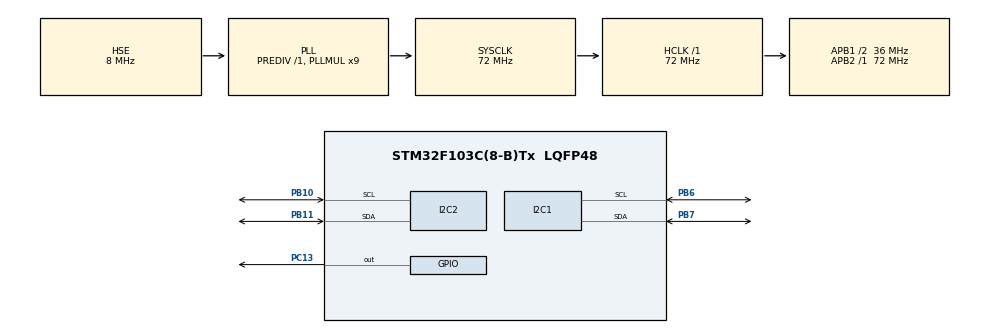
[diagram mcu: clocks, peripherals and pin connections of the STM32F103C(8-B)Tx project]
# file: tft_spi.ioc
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I2C1.I2C_Mode=I2C_Standard
Mcu.Family=STM32F1
Mcu.Name=STM32F103C(8-B)Tx
Mcu.Package=LQFP48
NVIC.PriorityGroup=NVIC_PRIORITYGROUP_4
NVIC.TIM4_IRQn=true\:15\:0\:false\:false\:true\:false\:true\:true
NVIC.TimeBase=TIM4_IRQn
NVIC.TimeBaseIP=TIM4
PA13.Mode=Serial_Wire
PA13.Signal=SYS_JTMS-SWDIO
PA14.Mode=Serial_Wire
PA14.Signal=SYS_JTCK-SWCLK
PB10.Mode=I2C
PB10.Signal=I2C2_SCL
PB11.Mode=I2C
PB11.Signal=I2C2_SDA
PB6.Mode=I2C
PB6.Signal=I2C1_SCL
PB7.Mode=I2C
PB7.Signal=I2C1_SDA
PC13-TAMPER-RTC.GPIO_ModeDefaultOutputPP=GPIO_MODE_OUTPUT_PP
PC13-TAMPER-RTC.GPIO_PuPd=GPIO_NOPULL
PC13-TAMPER-RTC.PinState=GPIO_PIN_RESET
PC13-TAMPER-RTC.Signal=GPIO_Output
PD0-OSC_IN.Mode=HSE-External-Oscillator
PD0-OSC_IN.Signal=RCC_OSC_IN
PD1-OSC_OUT.Mode=HSE-External-Oscillator
PD1-OSC_OUT.Signal=RCC_OSC_OUT
ProjectManager.HeapSize=0x200
ProjectManager.StackSize=0x800
ProjectManager.TargetToolchain=Makefile
RCC.AHBFreq_Value=72000000
RCC.APB1CLKDivider=RCC_HCLK_DIV2
RCC.APB1Freq_Value=36000000
RCC.APB1TimFreq_Value=72000000
RCC.APB2Freq_Value=72000000
RCC.APB2TimFreq_Value=72000000
RCC.HCLKFreq_Value=72000000
RCC.PLLMUL=RCC_PLL_MUL9
RCC.PLLSourceVirtual=RCC_PLLSOURCE_HSE
RCC.RTCClockSelection=RCC_RTCCLKSOURCE_LSE
RCC.SYSCLKFreq_VALUE=72000000
RCC.SYSCLKSource=RCC_SYSCLKSOURCE_PLLCLK
RCC.USBFreq_Value=72000000
VP_SYS_VS_tim4.Mode=TIM4
board=custom

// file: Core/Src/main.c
/* USER CODE BEGIN Header */
/**
  ******************************************************************************
  * @file           : main.c
  * @brief          : Main program body
  ******************************************************************************
  * @attention
  *
  * Copyright (c) 2026 STMicroelectronics.
  * All rights reserved.
  *
  * This software is licensed under terms that can be found in the LICENSE file
  * in the root directory of this software component.
  * If no LICENSE file comes with this software, it is provided AS-IS.
  *
  ******************************************************************************
  */
/* USER CODE END Header */
#include "main.h"

/* USER CODE BEGIN Includes */

#include <stdlib.h>
#include <stdio.h>
#include <string.h>

#include "lcd.h"
#include "bmp.h"

/* BSP_LCD_... */
#include "stm32_adafruit_lcd.h"

/* ENS160 */
#include "ENS160.h"

/* AHT21 */
#include "AHT21.h"

/* BMP180 */
#include "BMP180.h"

/* USER CODE END Includes */

/* USER CODE BEGIN PD */

/* Freertos also measures cpu usage
   - 0: measure off
   - 1: measure on */
#define POWERMETER    1

/* Chapter delays */
#define DELAY_CHAPTER    1000

#define Delay(t)              HAL_Delay(t)
#define GetTime()             HAL_GetTick()

#define POWERMETER_START
#define POWERMETER_STOP
#define POWERMETER_REF
#define POWERMETER_PRINT      Delay(10); printf("\r\n")

#if LCD_REVERSE16 == 0
#define RD(a)                 a
#endif

/* 16bit data byte change */
#if LCD_REVERSE16 == 1
#define RD(a)                 __REVSH(a)
#endif

/* ENS160 */
SensorData ENS160_data;

/* AHT21 */
float AHT21_temp = 0;
float AHT21_humidity = 0;

/* BMP180 */
float BMP180_temp = 0;
float Pressure = 0;
float Altitude = 0;

char Temperature1[10];
char Pressure1[10];
char Altitude1[10];

/* USER CODE END PD */

I2C_HandleTypeDef hi2c1;
I2C_HandleTypeDef hi2c2;

void SystemClock_Config(void);
static void MX_GPIO_Init(void);
static void MX_I2C1_Init(void);
static void MX_I2C2_Init(void);
/* USER CODE BEGIN PFP */
void mainApp(void);
/* USER CODE END PFP */

/* USER CODE BEGIN 0 */

uint32_t PixelTest(uint32_t n)
{
  uint16_t c, x, y;

  uint32_t ctStartT = GetTime();
  for(uint32_t i = 0; i < n; i++)
  {
    x = random() % BSP_LCD_GetXSize();
    y = random() % BSP_LCD_GetYSize();
    c = random() % 0xFFFF;
    BSP_LCD_DrawPixel(x, y, c);
  }
  return(GetTime() - ctStartT);
}

//-----------------------------------------------------------------------------
uint32_t LineTest(uint32_t n)
{
  uint16_t x1, y1, x2, y2;

  uint32_t ctStartT = GetTime();
  for(uint32_t i = 0; i < n; i++)
  {
    x1 = random() % BSP_LCD_GetXSize();
    y1 = random() % BSP_LCD_GetYSize();
    x2 = random() % BSP_LCD_GetXSize();
    y2 = random() % BSP_LCD_GetYSize();
    BSP_LCD_SetTextColor(RD(random() % 0xFFFF));
    BSP_LCD_DrawLine(x1, y1, x2, y2);
  }
  return(GetTime() - ctStartT);
}

//-----------------------------------------------------------------------------
uint32_t FillRectTest(uint32_t n)
{
  uint16_t x, y, w, h;

  uint32_t ctStartT = GetTime();
  for(uint32_t i = 0; i < n; i++)
  {
    w = random() % (BSP_LCD_GetXSize() >> 1);
    h = random() % (BSP_LCD_GetYSize() >> 1);
    x = random() % (BSP_LCD_GetXSize() - w);
    y = random() % (BSP_LCD_GetYSize() - h);
    BSP_LCD_SetTextColor(RD(random() % 0xFFFF));
    BSP_LCD_FillRect(x, y, w, h);
  }
  return(GetTime() - ctStartT);
}

//-----------------------------------------------------------------------------
uint32_t CharTest(uint32_t n)
{
  uint16_t x, y;
  uint8_t  c;
  sFONT * fp;

  uint32_t ctStartT = GetTime();
  for(uint32_t i = 0; i < n; i++)
  {
    c = random() % 5;
    if(c == 0)
      BSP_LCD_SetFont(&Font8);
    else if(c == 1)
      BSP_LCD_SetFont(&Font12);
    else if(c == 2)
      BSP_LCD_SetFont(&Font16);
    else if(c == 3)
      BSP_LCD_SetFont(&Font20);
    else if(c == 4)
      BSP_LCD_SetFont(&Font24);
    fp = BSP_LCD_GetFont();

    x = random() % (BSP_LCD_GetXSize() - fp->Width);
    y = random() % (BSP_LCD_GetYSize() - fp->Height);
    BSP_LCD_SetTextColor(RD(random() % 0xFFFF));
    BSP_LCD_SetBackColor(RD(random() % 0xFFFF));

    c = random() % 96 + ' ';
    BSP_LCD_DisplayChar(x, y, c);
  }
  return(GetTime() - ctStartT);
}

//-----------------------------------------------------------------------------
uint32_t CircleTest(uint32_t n)
{
  uint16_t c, x, y, r, rmax;

  rmax = BSP_LCD_GetXSize();
  if(rmax > BSP_LCD_GetYSize())
    rmax = BSP_LCD_GetYSize();
  rmax >>= 2;

  uint32_t ctStartT = GetTime();
  for(uint32_t i = 0; i < n; i++)
  {
    do
      r = random() % rmax;
    while(r == 0);

    x = random() % (BSP_LCD_GetXSize() - (r << 1)) + r;
    y = random() % (BSP_LCD_GetYSize() - (r << 1)) + r;
    c = random() % 0xFFFF;
    BSP_LCD_SetTextColor(RD(c));
    BSP_LCD_DrawCircle(x, y, r);
  }
  return(GetTime() - ctStartT);
}

//-----------------------------------------------------------------------------
uint32_t FillCircleTest(uint32_t n)
{
  uint16_t c, x, y, r, rmax;

  rmax = BSP_LCD_GetXSize();
  if(rmax > BSP_LCD_GetYSize())
    rmax = BSP_LCD_GetYSize();
  rmax >>= 2;

  uint32_t ctStartT = GetTime();
  for(uint32_t i = 0; i < n; i++)
  {
    do
      r = random() % rmax;
    while(r == 0);

    x = random() % (BSP_LCD_GetXSize() - (r << 1)) + r;
    y = random() % (BSP_LCD_GetYSize() - (r << 1)) + r;
    c = random() % 0xFFFF;
    BSP_LCD_SetTextColor(RD(c));
    BSP_LCD_FillCircle(x, y, r);
  }
  return(GetTime() - ctStartT);
}

//-----------------------------------------------------------------------------

#define MPU6050_ADDR 0xD0 // = (0x68 << 1)

#define SMPLRT_DIV_REG 0x19
#define GYRO_CONFIG_REG 0x1B
#define ACCEL_CONFIG_REG 0x1C
#define ACCEL_XOUT_H_REG 0x3B
#define TEMP_OUT_H_REG 0x41
#define GYRO_XOUT_H_REG 0x43
#define PWR_MGMT_1_REG 0x6B
#define WHO_AM_I_REG 0x75

int16_t Accel_X_RAW = 0;
int16_t Accel_Y_RAW = 0;
int16_t Accel_Z_RAW = 0;

int16_t Gyro_X_RAW = 0;
int16_t Gyro_Y_RAW = 0;
int16_t Gyro_Z_RAW = 0;

float Ax, Ay, Az, Gx, Gy, Gz;

void MPU6050_Init (void)
{
  uint8_t check;
  uint8_t Data;

  // check device ID WHO_AM_I
  HAL_I2C_Mem_Read (&hi2c1, MPU6050_ADDR, 0x75, 1, &check, 1, 1000);
  if (check == 0x68)  // 0x68 will be returned by the sensor if everything goes well
  {
    // power management register 0X6B we should write all 0's to wake the sensor up
    Data = 0;
    HAL_I2C_Mem_Write(&hi2c1, MPU6050_ADDR, 0x6B, 1,&Data, 1, 1000);

    // Set DATA RATE of 1KHz by writing SMPLRT_DIV register
    Data = 0x07;
    HAL_I2C_Mem_Write(&hi2c1, MPU6050_ADDR, 0x19, 1, &Data, 1, 1000);

    // Set Gyroscopic configuration in GYRO_CONFIG Register
    Data = 0x00;  // XG_ST=0,YG_ST=0,ZG_ST=0, FS_SEL=0 -> ± 250 ̐/s
    HAL_I2C_Mem_Write(&hi2c1, MPU6050_ADDR, 0x1B, 1, &Data, 1, 1000);

    // Set accelerometer configuration in ACCEL_CONFIG Register
    Data = 0x00;  // XA_ST=0,YA_ST=0,ZA_ST=0, FS_SEL=0 -> ± 2g
    HAL_I2C_Mem_Write(&hi2c1, MPU6050_ADDR, 0x1C, 1, &Data, 1, 1000);
  }

}

void MPU6050_Read_Accel (void)
{
  uint8_t Rec_Data[6];

  // Read 6 BYTES of data starting from ACCEL_XOUT_H (0x3B) register
  HAL_I2C_Mem_Read (&hi2c1, MPU6050_ADDR, 0x3B, 1, Rec_Data, 6, 1000);

  Accel_X_RAW = (int16_t)(Rec_Data[0] << 8 | Rec_Data [1]);
  Accel_Y_RAW = (int16_t)(Rec_Data[2] << 8 | Rec_Data [3]);
  Accel_Z_RAW = (int16_t)(Rec_Data[4] << 8 | Rec_Data [5]);

  /*** convert the RAW values into acceleration in 'g'
       we have to divide according to the Full scale value set in FS_SEL
       I have configured FS_SEL = 0. So I am dividing by 16384.0
       for more details check ACCEL_CONFIG Register              ****/

  Ax = (float)Accel_X_RAW/16384.0;
  Ay = (float)Accel_Y_RAW/16384.0;
  Az = (float)Accel_Z_RAW/16384.0;
}

void MPU6050_Read_Gyro (void)
{
  uint8_t Rec_Data[6];

  // Read 6 BYTES of data starting from GYRO_XOUT_H register
  HAL_I2C_Mem_Read (&hi2c1, MPU6050_ADDR, 0x43, 1, Rec_Data, 6, 1000);

  Gyro_X_RAW = (int16_t)(Rec_Data[0] << 8 | Rec_Data [1]);
  Gyro_Y_RAW = (int16_t)(Rec_Data[2] << 8 | Rec_Data [3]);
  Gyro_Z_RAW = (int16_t)(Rec_Data[4] << 8 | Rec_Data [5]);

  /*** convert the RAW values into dps (ｰ/s)
       we have to divide according to the Full scale value set in FS_SEL
       I have configured FS_SEL = 0. So I am dividing by 131.0
       for more details check GYRO_CONFIG Register              ****/

  Gx = (float)Gyro_X_RAW/131.0;
  Gy = (float)Gyro_Y_RAW/131.0;
  Gz = (float)Gyro_Z_RAW/131.0;
}

//-----------------------------------------------------------------------------

#define DS3231_ADDRESS 0xD0 // = (0x68 << 1)

// Convert normal decimal numbers to binary coded decimal
uint8_t decToBcd(int val)
{
  return (uint8_t)( (val/10*16) + (val%10) );
}
// Convert binary coded decimal to normal decimal numbers
int bcdToDec(uint8_t val)
{
  return (int)( (val/16*10) + (val%16) );
}

typedef struct {
  uint8_t seconds;
  uint8_t minutes;
  uint8_t hour;
  uint8_t dayofweek;
  uint8_t dayofmonth;
  uint8_t month;
  uint8_t year;
} TIME;

TIME time;

// function to set time

void Set_Time (uint8_t sec, uint8_t min, uint8_t hour, uint8_t dow, uint8_t dom, uint8_t month, uint8_t year)
{
  uint8_t set_time[7];
  set_time[0] = decToBcd(sec);
  set_time[1] = decToBcd(min);
  set_time[2] = decToBcd(hour);
  set_time[3] = decToBcd(dow);
  set_time[4] = decToBcd(dom);
  set_time[5] = decToBcd(month);
  set_time[6] = decToBcd(year);

  HAL_I2C_Mem_Write(&hi2c2, DS3231_ADDRESS, 0x00, 1, set_time, 7, 1000);
}

void Get_Time (void)
{
  uint8_t get_time[7];
  HAL_I2C_Mem_Read(&hi2c2, DS3231_ADDRESS, 0x00, 1, get_time, 7, 1000);
  time.seconds = bcdToDec(get_time[0]);
  time.minutes = bcdToDec(get_time[1]);
  time.hour = bcdToDec(get_time[2]);
  time.dayofweek = bcdToDec(get_time[3]);
  time.dayofmonth = bcdToDec(get_time[4]);
  time.month = bcdToDec(get_time[5]);
  time.year = bcdToDec(get_time[6]);
}

float Get_Temp (void)
{
  uint8_t temp[2];

  HAL_I2C_Mem_Read(&hi2c2, DS3231_ADDRESS, 0x11, 1, temp, 2, 1000);
  return ((temp[0])+(temp[1]>>6)/4.0);
}

void force_temp_conv (void)
{
  uint8_t status=0;
  uint8_t control=0;
  HAL_I2C_Mem_Read(&hi2c2, DS3231_ADDRESS, 0x0F, 1, &status, 1, 100);  // read status register
  if (!(status&0x04))
  {
    HAL_I2C_Mem_Read(&hi2c2, DS3231_ADDRESS, 0x0E, 1, &control, 1, 100);  // read control register
    // HAL_I2C_Mem_Write(&hi2c2, DS3231_ADDRESS, 0x0E, 1, (uint8_t *)(control|(0x20)), 1, 100);
    HAL_I2C_Mem_Write(&hi2c1, DS3231_ADDRESS, 0x0E, 1, (uint8_t *)&control, 1, 100);
  }
}

float TEMP;
// char buffer[15];

/* USER CODE END 0 */

int main(void)
{

  /* MCU Configuration--------------------------------------------------------*/

  /* Reset of all peripherals, Initializes the Flash interface and the Systick. */
  HAL_Init();

  /* Configure the system clock */
  SystemClock_Config();

  /* Initialize all configured peripherals */
  MX_GPIO_Init();
  MX_I2C1_Init();
  MX_I2C2_Init();
  /* USER CODE BEGIN 2 */

  MPU6050_Init();
  ENS160_SetOpMode(RESET_MODE);
  Delay(100);
  ENS160_SetOpMode(STANDARD_MODE);
  AHT21_init();
  BMP180_Start();

  /* USER CODE END 2 */

  /* Infinite loop */
  /* USER CODE BEGIN WHILE */

  uint32_t t;

  Delay(300);

  BSP_LCD_Init();

  t = random();

  Delay(100);
  printf("Display ID = %X\r\n", (unsigned int)BSP_LCD_ReadID());

  uint8_t line_size = 22;
  char line_0[line_size];
  char line_1[line_size];
  char line_2[line_size];
  char line_3[line_size];
  char line_4[line_size];
  char line_5[line_size];
  char line_6[line_size];
  char line_7[line_size];
  char line_8[line_size];
  char line_9[line_size];
  char line_10[line_size];

  BSP_LCD_SetFont(&Font20);

  // snprintf(line_0, sizeof(line_0), "MPU6050 TEST");
  // BSP_LCD_DisplayStringAt(0, 0, (uint8_t *)line_0, LEFT_MODE);

  //uint8_t sec, uint8_t min, uint8_t hour, uint8_t dow, uint8_t dom, uint8_t month, uint8_t year
  // Set_Time(00, 52, 14, 3, 21, 1, 26);

  while (1)
  {
    /* USER CODE END WHILE */

    /* USER CODE BEGIN 3 */

    // HAL_GPIO_TogglePin(GPIOC, GPIO_PIN_13);
    // HAL_Delay(1000);
    // continue;

    {
      // read the Accelerometer and Gyro values
      // MPU6050_Read_Accel();
      // MPU6050_Read_Gyro();

      Get_Time();
      sprintf (line_0, "%d-%d-20%d %02d:%02d:%02d   ", time.dayofmonth, time.month, time.year, time.hour, time.minutes, time.seconds);
      BSP_LCD_DisplayStringAtLine(0, (uint8_t *)line_0);

      // snprintf(line_1, sizeof(line_1), "Ax=%.3fg       ", Ax);
      // BSP_LCD_DisplayStringAtLine(1, (uint8_t *)line_1);
      // snprintf(line_2, sizeof(line_2), "Ay=%.3fg       ", Ay);
      // BSP_LCD_DisplayStringAtLine(2, (uint8_t *)line_2);
      // snprintf(line_3, sizeof(line_3), "Az=%.3fg       ", Az);
      // BSP_LCD_DisplayStringAtLine(3, (uint8_t *)line_3);
      // snprintf(line_4, sizeof(line_4), "Gx=%.3fg       ", Gx);
      // BSP_LCD_DisplayStringAtLine(4, (uint8_t *)line_4);
      // snprintf(line_5, sizeof(line_5), "Gy=%.3fg       ", Gy);
      // BSP_LCD_DisplayStringAtLine(5, (uint8_t *)line_5);
      // snprintf(line_6, sizeof(line_6), "Gz=%.3fg       ", Gz);
      // BSP_LCD_DisplayStringAtLine(6, (uint8_t *)line_6);

      // c = random() % 96 + ' ';
      // snprintf(line_7, sizeof(line_7), "random: %c", c);
      // snprintf(line_7, sizeof(line_7), "%c%c", 0x50,0b01110000);
      // BSP_LCD_DisplayStringAtLine(7, (uint8_t *)line_7);

      // sprintf (buffer, "Time: %02d:%02d:%02d", time.hour, time.minutes, time.seconds);
      // BSP_LCD_DisplayStringAtLine(8, (uint8_t *)buffer);
      // sprintf (buffer, "Date: %d-%d-20%d", time.dayofmonth, time.month, time.year);
      // BSP_LCD_DisplayStringAtLine(9, (uint8_t *)buffer);

      /* ENS160 */
      ENS160_Read_Datas(&ENS160_data);
      sprintf (line_2, "AQI: %d     ", ENS160_data.AQI_data);
      BSP_LCD_DisplayStringAtLine(2, (uint8_t *)line_2);
      sprintf (line_3, "TVOC: %dppb     ", ENS160_data.TVOC_data);
      BSP_LCD_DisplayStringAtLine(3, (uint8_t *)line_3);
      sprintf (line_4, "ECO2: %dppm     ", ENS160_data.ECO2_data);
      BSP_LCD_DisplayStringAtLine(4, (uint8_t *)line_4);

      if (ENS160_data.AQI_data > 1) {
        HAL_GPIO_WritePin(GPIOC, GPIO_PIN_13, GPIO_PIN_RESET);
      }
      else {
        HAL_GPIO_WritePin(GPIOC, GPIO_PIN_13, GPIO_PIN_SET);
      }

      /* AHT21 */
      AHT21_humidity = AHT21_Read_Humidity();
      sprintf (line_5, "Humidity: %.2f%%     ", AHT21_humidity);
      BSP_LCD_DisplayStringAtLine(5, (uint8_t *)line_5);
      AHT21_temp = AHT21_Read_Temperature();
      sprintf (line_6, "AHT21  Temp: %.2fC     ", AHT21_temp);
      BSP_LCD_DisplayStringAtLine(6, (uint8_t *)line_6);

      /* DS3231 */
      force_temp_conv();
      TEMP = Get_Temp();
      sprintf (line_7, "DS3231 Temp: %.2fC     ", TEMP);
      BSP_LCD_DisplayStringAtLine(7, (uint8_t *)line_7);

      /* BMP180 */
      BMP180_temp = BMP180_GetTemp();
      Pressure = BMP180_GetPressMmhg(3);
      Altitude = BMP180_GetAlt(3);

      sprintf (line_8, "BMP180 Temp: %.2fC     ", BMP180_temp);
      BSP_LCD_DisplayStringAtLine(8, (uint8_t *)line_8);
      sprintf (line_9, "Pressure: %.2fmmHg     ", Pressure);
      BSP_LCD_DisplayStringAtLine(9, (uint8_t *)line_9);
      sprintf (line_10, "Altitude: %.2fm     ", Altitude);
      BSP_LCD_DisplayStringAtLine(10, (uint8_t *)line_10);

      HAL_Delay (100);  // wait for a while

      continue;
    }

    BSP_LCD_Clear(LCD_COLOR_BLACK);
    POWERMETER_START;
    t = PixelTest(100000);
    POWERMETER_STOP;
    printf("Pixel Test: %d ms", (int)t);
    POWERMETER_PRINT;
    Delay(DELAY_CHAPTER);

    BSP_LCD_Clear(LCD_COLOR_BLACK);
    POWERMETER_START;
    t = LineTest(1000);
    POWERMETER_STOP;
    printf("Line Test: %d ms", (int)t);
    POWERMETER_PRINT;
    Delay(DELAY_CHAPTER);

    BSP_LCD_Clear(LCD_COLOR_BLACK);
    POWERMETER_START;
    t = FillRectTest(250);
    POWERMETER_STOP;
    printf("Fill Rect Test: %d ms", (int)t);
    POWERMETER_PRINT;
    Delay(DELAY_CHAPTER);

    BSP_LCD_Clear(LCD_COLOR_BLACK);
    POWERMETER_START;
    t = CircleTest(DELAY_CHAPTER);
    POWERMETER_STOP;
    printf("Circle Test: %d ms", (int)t);
    POWERMETER_PRINT;
    Delay(DELAY_CHAPTER);

    BSP_LCD_Clear(LCD_COLOR_BLACK);
    POWERMETER_START;
    t = FillCircleTest(250);
    POWERMETER_STOP;
    printf("Fill Circle Test: %d ms", (int)t);
    POWERMETER_PRINT;
    Delay(DELAY_CHAPTER);

    BSP_LCD_Clear(LCD_COLOR_BLACK);
    POWERMETER_START;
    t = CharTest(5000);
    POWERMETER_STOP;
    printf("Char Test: %d ms", (int)t);
    POWERMETER_PRINT;
    Delay(DELAY_CHAPTER);

  }
  /* USER CODE END 3 */
}

void SystemClock_Config(void)
{
  RCC_OscInitTypeDef RCC_OscInitStruct = {0};
  RCC_ClkInitTypeDef RCC_ClkInitStruct = {0};

  /** Initializes the RCC Oscillators according to the specified parameters
  * in the RCC_OscInitTypeDef structure.
  */
  RCC_OscInitStruct.OscillatorType = RCC_OSCILLATORTYPE_HSE;
  RCC_OscInitStruct.HSEState = RCC_HSE_ON;
  RCC_OscInitStruct.HSEPredivValue = RCC_HSE_PREDIV_DIV1;
  RCC_OscInitStruct.HSIState = RCC_HSI_ON;
  RCC_OscInitStruct.PLL.PLLState = RCC_PLL_ON;
  RCC_OscInitStruct.PLL.PLLSource = RCC_PLLSOURCE_HSE;
  RCC_OscInitStruct.PLL.PLLMUL = RCC_PLL_MUL9;
  if (HAL_RCC_OscConfig(&RCC_OscInitStruct) != HAL_OK)
  {
    Error_Handler();
  }

  /** Initializes the CPU, AHB and APB buses clocks
  */
  RCC_ClkInitStruct.ClockType = RCC_CLOCKTYPE_HCLK|RCC_CLOCKTYPE_SYSCLK
                              |RCC_CLOCKTYPE_PCLK1|RCC_CLOCKTYPE_PCLK2;
  RCC_ClkInitStruct.SYSCLKSource = RCC_SYSCLKSOURCE_PLLCLK;
  RCC_ClkInitStruct.AHBCLKDivider = RCC_SYSCLK_DIV1;
  RCC_ClkInitStruct.APB1CLKDivider = RCC_HCLK_DIV2;
  RCC_ClkInitStruct.APB2CLKDivider = RCC_HCLK_DIV1;

  if (HAL_RCC_ClockConfig(&RCC_ClkInitStruct, FLASH_LATENCY_2) != HAL_OK)
  {
    Error_Handler();
  }
}

static void MX_I2C1_Init(void)
{

  hi2c1.Instance = I2C1;
  hi2c1.Init.ClockSpeed = 100000;
  hi2c1.Init.DutyCycle = I2C_DUTYCYCLE_2;
  hi2c1.Init.OwnAddress1 = 0;
  hi2c1.Init.AddressingMode = I2C_ADDRESSINGMODE_7BIT;
  hi2c1.Init.DualAddressMode = I2C_DUALADDRESS_DISABLE;
  hi2c1.Init.OwnAddress2 = 0;
  hi2c1.Init.GeneralCallMode = I2C_GENERALCALL_DISABLE;
  hi2c1.Init.NoStretchMode = I2C_NOSTRETCH_DISABLE;
  if (HAL_I2C_Init(&hi2c1) != HAL_OK)
  {
    Error_Handler();
  }

}

static void MX_I2C2_Init(void)
{

  hi2c2.Instance = I2C2;
  hi2c2.Init.ClockSpeed = 100000;
  hi2c2.Init.DutyCycle = I2C_DUTYCYCLE_2;
  hi2c2.Init.OwnAddress1 = 0;
  hi2c2.Init.AddressingMode = I2C_ADDRESSINGMODE_7BIT;
  hi2c2.Init.DualAddressMode = I2C_DUALADDRESS_DISABLE;
  hi2c2.Init.OwnAddress2 = 0;
  hi2c2.Init.GeneralCallMode = I2C_GENERALCALL_DISABLE;
  hi2c2.Init.NoStretchMode = I2C_NOSTRETCH_DISABLE;
  if (HAL_I2C_Init(&hi2c2) != HAL_OK)
  {
    Error_Handler();
  }

}

static void MX_GPIO_Init(void)
{
  GPIO_InitTypeDef GPIO_InitStruct = {0};

  /* GPIO Ports Clock Enable */
  __HAL_RCC_GPIOC_CLK_ENABLE();
  __HAL_RCC_GPIOD_CLK_ENABLE();
  __HAL_RCC_GPIOB_CLK_ENABLE();
  __HAL_RCC_GPIOA_CLK_ENABLE();

  /*Configure GPIO pin Output Level */
  HAL_GPIO_WritePin(GPIOC, GPIO_PIN_13, GPIO_PIN_RESET);

  /*Configure GPIO pin : PC13 */
  GPIO_InitStruct.Pin = GPIO_PIN_13;
  GPIO_InitStruct.Mode = GPIO_MODE_OUTPUT_PP;
  GPIO_InitStruct.Pull = GPIO_NOPULL;
  GPIO_InitStruct.Speed = GPIO_SPEED_FREQ_LOW;
  HAL_GPIO_Init(GPIOC, &GPIO_InitStruct);

}

void HAL_TIM_PeriodElapsedCallback(TIM_HandleTypeDef *htim)
{
  if (htim->Instance == TIM4) {
    HAL_IncTick();
  }
}

void Error_Handler(void)
{
  __disable_irq();
  while (1)
  {
  }
}
